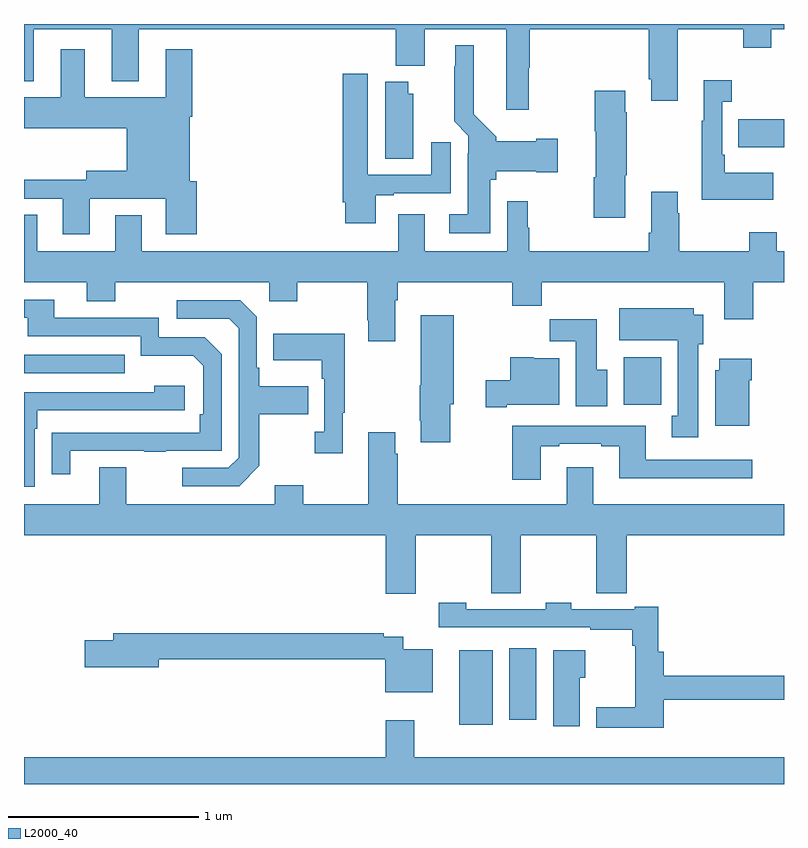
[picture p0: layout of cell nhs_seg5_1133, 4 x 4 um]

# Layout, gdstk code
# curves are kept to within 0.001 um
import gdstk
lib = gdstk.Library(unit=1e-6, precision=1e-09)
def R(c, l, rs):  # rectangles x0, y0, x1, y1
    for r in rs: c.add(gdstk.rectangle(r[:2], r[2:], *l))
def P(c, l, *ps):  # polygons
    for p in ps: c.add(gdstk.Polygon(p, *l))
L2000_40 = (2000, 40)

nhs_seg5_1133 = lib.new_cell('nhs_seg5_1133')
R(nhs_seg5_1133, L2000_40, [(183.29,841.112,183.466,841.504), (183.554,841.137,183.697,841.513), (184.157,842.796,184.353,843.046), (181,842.961,181.529,843.057), (184.759,844.151,185,844.299)])
P(nhs_seg5_1133, L2000_40, [(183.657,844.568),(183.662,844.568),(183.662,844.772),(184.289,844.772),(184.289,844.507),(184.301,844.507),(184.301,844.395),(184.441,844.395),(184.441,844.772),(184.786,844.772),(184.786,844.673),(184.933,844.673),(184.933,844.772),(185,844.772),(185,844.799),(181,844.799),(181,844.499),(181.051,844.499),(181.051,844.772),(181.463,844.772),(181.463,844.499),(181.603,844.499),(181.603,844.772),(182.957,844.772),(182.957,844.58),(183.109,844.58),(183.109,844.772),(183.539,844.772),(183.539,844.347),(183.657,844.347)],
  [(183.454,843.978),(183.485,843.978),(183.485,844.025),(183.695,844.025),(183.695,844.018),(183.808,844.018),(183.808,844.196),(183.695,844.196),(183.695,844.183),(183.485,844.183),(183.485,844.206),(183.367,844.324),(183.367,844.687),(183.269,844.687),(183.269,844.577),(183.265,844.577),(183.265,844.286),(183.339,844.212),(183.339,844.118),(183.335,844.118),(183.335,843.799),(183.237,843.799),(183.237,843.698),(183.454,843.698)],
  [(181.345,843.878),(181.745,843.878),(181.745,843.693),(181.91,843.693),(181.91,843.972),(181.873,843.972),(181.873,844.31),(181.886,844.31),(181.886,844.666),(181.745,844.666),(181.745,844.414),(181.321,844.414),(181.321,844.666),(181.193,844.666),(181.193,844.414),(181,844.414),(181,844.25),(181.541,844.25),(181.541,844.027),(181.328,844.027),(181.328,843.98),(181,843.98),(181,843.879),(181.205,843.879),(181.205,843.693),(181.345,843.693)],
  [(182.851,843.897),(182.947,843.897),(182.947,843.909),(183.247,843.909),(183.247,844.177),(183.143,844.177),(183.143,844.005),(182.809,844.005),(182.809,844.537),(182.678,844.537),(182.678,843.862),(182.69,843.862),(182.69,843.75),(182.851,843.75)],
  [(184.943,844.015),(184.687,844.015),(184.687,844.111),(184.674,844.111),(184.674,844.391),(184.726,844.391),(184.726,844.504),(184.577,844.504),(184.577,844.291),(184.566,844.291),(184.566,843.875),(184.943,843.875)],
  [(183.049,844.431),(183.022,844.431),(183.022,844.495),(182.9,844.495),(182.9,844.09),(183.049,844.09)],
  [(184.165,844.003),(184.173,844.003),(184.173,844.334),(184.165,844.334),(184.165,844.447),(184.003,844.447),(184.003,844.234),(184.01,844.234),(184.01,843.992),(183.998,843.992),(183.998,843.78),(184.165,843.78)],
  [(182.953,843.344),(182.966,843.344),(182.966,843.44),(183.569,843.44),(183.569,843.316),(183.725,843.316),(183.725,843.44),(184.685,843.44),(184.685,843.246),(184.838,843.246),(184.838,843.44),(185,843.44),(185,843.604),(184.962,843.604),(184.962,843.703),(184.816,843.703),(184.816,843.604),(184.449,843.604),(184.449,843.803),(184.441,843.803),(184.441,843.916),(184.301,843.916),(184.301,843.7),(184.289,843.7),(184.289,843.604),(183.659,843.604),(183.659,843.726),(183.652,843.726),(183.652,843.865),(183.543,843.865),(183.543,843.604),(183.109,843.604),(183.109,843.799),(182.969,843.799),(182.969,843.604),(181.621,843.604),(181.621,843.793),(181.481,843.793),(181.481,843.604),(181.069,843.604),(181.069,843.794),(181,843.794),(181,843.44),(181.331,843.44),(181.331,843.341),(181.479,843.341),(181.479,843.44),(182.292,843.44),(182.292,843.341),(182.439,843.341),(182.439,843.44),(182.806,843.44),(182.806,843.241),(182.813,843.241),(182.813,843.129),(182.953,843.129)],
  [(181.243,842.553),(181.633,842.553),(181.633,842.548),(181.745,842.548),(181.745,842.553),(182.04,842.553),(182.04,843.06),(181.95,843.15),(181.71,843.15),(181.71,843.252),(181.159,843.252),(181.159,843.348),(181,843.348),(181,843.252),(181.019,843.252),(181.019,843.156),(181.614,843.156),(181.614,843.053),(181.891,843.053),(181.944,843),(181.944,842.746),(181.924,842.746),(181.924,842.649),(181.147,842.648),(181.147,842.43),(181.243,842.43)],
  [(182.239,842.473),(182.239,842.746),(182.495,842.746),(182.495,842.893),(182.239,842.893),(182.239,842.989),(182.226,842.989),(182.226,843.258),(182.139,843.345),(181.803,843.345),(181.803,843.249),(182.079,843.249),(182.13,843.198),(182.13,842.517),(182.076,842.463),(181.833,842.463),(181.833,842.367),(182.133,842.367)],
  [(184.549,843.114),(184.576,843.114),(184.576,843.268),(184.525,843.268),(184.525,843.304),(184.133,843.304),(184.133,843.134),(184.442,843.134),(184.442,842.737),(184.409,842.737),(184.409,842.625),(184.549,842.625)],
  [(183.244,842.799),(183.262,842.799),(183.262,843.265),(183.089,843.265),(183.089,842.899),(183.082,842.899),(183.082,842.71),(183.089,842.71),(183.089,842.598),(183.244,842.598)],
  [(184.069,842.98),(184.015,842.98),(184.015,843.246),(183.766,843.246),(183.766,843.128),(183.905,843.128),(183.905,842.787),(184.069,842.787)],
  [(182.677,842.753),(182.689,842.753),(182.689,843.169),(182.311,843.169),(182.311,843.029),(182.568,843.029),(182.568,842.933),(182.58,842.933),(182.58,842.654),(182.529,842.654),(182.529,842.541),(182.677,842.541)],
  [(183.541,842.795),(183.817,842.795),(183.817,843.04),(183.684,843.04),(183.684,843.046),(183.559,843.046),(183.559,842.925),(183.429,842.925),(183.429,842.783),(183.541,842.783)],
  [(184.816,842.924),(184.829,842.924),(184.829,843.037),(184.658,843.037),(184.658,842.976),(184.637,842.976),(184.637,842.684),(184.816,842.684)],
  [(181.056,842.669),(181.069,842.669),(181.069,842.766),(181.846,842.766),(181.846,842.896),(181.685,842.896),(181.685,842.862),(181,842.862),(181,842.364),(181.056,842.364)],
  [(183.721,842.577),(183.817,842.577),(183.817,842.589),(184.037,842.589),(184.037,842.577),(184.133,842.577),(184.133,842.408),(184.834,842.408),(184.834,842.505),(184.273,842.505),(184.273,842.685),(183.569,842.685),(183.569,842.4),(183.721,842.4)],
  [(183.063,842.108),(183.46,842.108),(183.46,841.804),(183.614,841.804),(183.614,842.108),(184.012,842.108),(184.012,841.804),(184.172,841.804),(184.172,842.108),(185,842.108),(185,842.272),(183.997,842.272),(183.997,842.467),(183.857,842.467),(183.857,842.272),(182.966,842.272),(182.966,842.537),(182.953,842.537),(182.953,842.65),(182.813,842.65),(182.813,842.272),(182.469,842.272),(182.469,842.371),(182.321,842.371),(182.321,842.272),(181.537,842.272),(181.537,842.467),(181.397,842.467),(181.397,842.272),(181,842.272),(181,842.108),(182.903,842.108),(182.903,841.8),(183.063,841.8)],
  [(184.367,841.242),(185,841.242),(185,841.37),(184.367,841.37),(184.367,841.495),(184.337,841.495),(184.337,841.732),(184.214,841.732),(184.214,841.719),(183.879,841.719),(183.879,841.752),(183.747,841.752),(183.747,841.719),(183.327,841.719),(183.327,841.752),(183.183,841.752),(183.183,841.623),(183.979,841.623),(183.979,841.611),(184.201,841.611),(184.201,841.526),(184.216,841.526),(184.216,841.204),(184.011,841.204),(184.011,841.094),(184.367,841.094)],
  [(183.151,841.507),(182.997,841.507),(182.997,841.575),(182.894,841.575),(182.894,841.592),(181.469,841.592),(181.469,841.556),(181.32,841.556),(181.32,841.414),(181.708,841.414),(181.708,841.456),(182.901,841.456),(182.901,841.283),(183.151,841.283)],
  [(183.925,841.357),(183.955,841.357),(183.955,841.504),(183.785,841.504),(183.785,841.104),(183.925,841.104)],
  [(185,840.94),(183.055,840.94),(183.055,841.135),(182.903,841.135),(182.903,840.94),(181,840.94),(181,840.799),(185,840.799)])

lib.write_gds('nhs_seg5_1133.gds')
